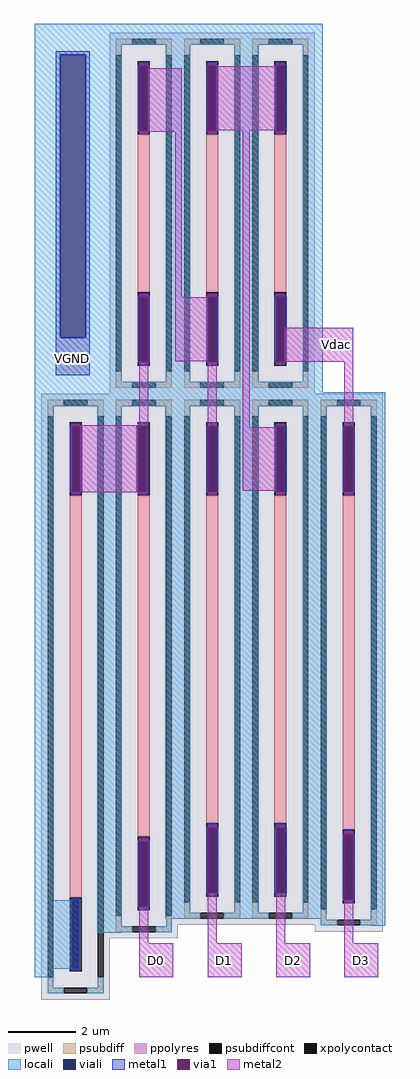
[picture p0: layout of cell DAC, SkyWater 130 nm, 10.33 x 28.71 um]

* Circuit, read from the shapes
.subckt DAC Vdac D0 D2 D3 D1 VGND
XR1 n1 VGND VGND sky130_fd_pr__res_high_po w=0.35 l=11.84
XR2 n1 D0 VGND sky130_fd_pr__res_high_po w=0.35 l=10.04
XR3 n2 n1 VGND sky130_fd_pr__res_high_po w=0.35 l=4.64
XR4 n2 D1 VGND sky130_fd_pr__res_high_po w=0.35 l=9.64
XR5 n3 n2 VGND sky130_fd_pr__res_high_po w=0.35 l=4.64
XR6 n3 D2 VGND sky130_fd_pr__res_high_po w=0.35 l=9.64
XR7 n3 Vdac VGND sky130_fd_pr__res_high_po w=0.35 l=4.64
XR8 Vdac D3 VGND sky130_fd_pr__res_high_po w=0.35 l=9.84
.ends

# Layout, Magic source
magic
tech sky130A
magscale 1 2
<< locali >>
rect -1445 3424 250 3537
rect -1445 3411 251 3424
rect -1445 3354 -931 3411
rect -1445 1689 -1293 3354
rect -1144 1689 -931 3354
rect -1445 1430 -931 1689
rect -673 1430 -529 3411
rect -271 1430 -127 3411
rect 132 1430 251 3411
rect -1445 1368 251 1430
rect -1445 1291 619 1368
rect -1445 1286 620 1291
rect -1445 -1621 -1332 1286
rect -1445 -2026 -1177 -1621
rect -1075 -1812 -931 1286
rect -675 -1732 -529 1286
rect -271 -1732 -127 1286
rect 132 -1702 275 1286
rect 132 -1731 273 -1702
rect 533 -1771 620 1286
rect -1445 -2076 -1332 -2026
<< viali >>
rect -1293 1689 -1144 3354
<< metal1 >>
rect -1319 3354 -1119 3373
rect -1319 1689 -1293 3354
rect -1144 1689 -1119 3354
rect -838 2902 -828 3292
rect -776 2902 -766 3292
rect -436 2902 -426 3292
rect -374 2902 -364 3292
rect -34 2902 -24 3292
rect 28 2902 38 3292
rect -1319 1466 -1119 1689
rect -838 1543 -828 1933
rect -776 1543 -766 1933
rect -436 1543 -426 1933
rect -374 1543 -364 1933
rect -34 1543 -24 1933
rect 28 1543 38 1933
rect -1237 780 -1227 1170
rect -1175 780 -1165 1170
rect -847 780 -837 1170
rect -785 780 -775 1170
rect -436 778 -426 1168
rect -374 778 -364 1168
rect -34 778 -24 1168
rect 28 778 38 1168
rect 368 778 378 1168
rect 430 778 440 1168
rect -838 -1661 -828 -1271
rect -776 -1661 -766 -1271
rect -436 -1581 -426 -1191
rect -374 -1581 -364 -1191
rect -34 -1581 -24 -1191
rect 28 -1581 38 -1191
rect 368 -1621 378 -1231
rect 430 -1621 440 -1231
<< via1 >>
rect -828 2902 -776 3292
rect -426 2902 -374 3292
rect -24 2902 28 3292
rect -828 1543 -776 1933
rect -426 1543 -374 1933
rect -24 1543 28 1933
rect -1227 780 -1175 1170
rect -837 780 -785 1170
rect -426 778 -374 1168
rect -24 778 28 1168
rect 378 778 430 1168
rect -828 -1661 -776 -1271
rect -426 -1581 -374 -1191
rect -24 -1581 28 -1191
rect 378 -1621 430 -1231
<< metal2 >>
rect -828 3292 -776 3302
rect -426 3292 -374 3302
rect -776 2902 -578 3275
rect -828 2901 -578 2902
rect -828 2892 -776 2901
rect -828 1933 -776 1943
rect -618 1925 -578 2901
rect -24 3292 28 3302
rect -374 2908 -24 3285
rect -426 2892 -374 2902
rect -426 1933 -374 1943
rect -618 1551 -426 1925
rect -828 1180 -776 1543
rect -1227 1172 -1175 1180
rect -837 1172 -776 1180
rect -1229 1170 -776 1172
rect -1229 780 -1227 1170
rect -1175 780 -837 1170
rect -785 780 -782 1170
rect -1229 778 -782 780
rect -426 1168 -374 1543
rect -219 1162 -179 2908
rect -24 2892 28 2902
rect -24 1933 28 1943
rect 28 1547 430 1747
rect -24 1533 28 1543
rect -24 1168 28 1178
rect -219 788 -24 1162
rect -1227 770 -1175 778
rect -837 770 -785 778
rect -426 768 -374 778
rect -24 768 28 778
rect 378 1168 430 1547
rect 378 768 430 778
rect -426 -1191 -374 -1181
rect -828 -1271 -776 -1261
rect -828 -1876 -776 -1661
rect -426 -1876 -374 -1581
rect -24 -1191 28 -1181
rect 378 -1231 430 -1221
rect -24 -1876 29 -1581
rect 378 -1876 430 -1621
rect -828 -2076 -628 -1876
rect -426 -2076 -226 -1876
rect -24 -2076 176 -1876
rect 378 -2076 578 -1876
use sky130_fd_pr__res_high_po_0p35_AT4384  XR1
transform 1 0 -1203 0 1 -424
box -201 -1782 201 1782
use sky130_fd_pr__res_high_po_0p35_Z689S7  XR2
transform 1 0 -400 0 1 2420
box -201 -1062 201 1062
use sky130_fd_pr__res_high_po_0p35_Z689S7  XR3
transform 1 0 2 0 1 2420
box -201 -1062 201 1062
use sky130_fd_pr__res_high_po_0p35_V3ZUAZ  XR4
transform 1 0 -802 0 1 -244
box -201 -1602 201 1602
use sky130_fd_pr__res_high_po_0p35_GHF3PF  XR5
transform 1 0 -400 0 1 -204
box -201 -1562 201 1562
use sky130_fd_pr__res_high_po_0p35_GHF3PF  XR6
transform 1 0 2 0 1 -204
box -201 -1562 201 1562
use sky130_fd_pr__res_high_po_0p35_FFK5MY  XR7
transform 1 0 404 0 1 -224
box -201 -1582 201 1582
use sky130_fd_pr__res_high_po_0p35_Z689S7  XR9
transform 1 0 -802 0 1 2420
box -201 -1062 201 1062
<< labels >>
flabel metal2 230 1547 430 1747 0 FreeSans 256 0 0 0 Vdac
port 0 nsew
flabel metal2 -426 -2076 -226 -1876 0 FreeSans 256 0 0 0 D1
port 4 nsew
flabel metal2 -24 -2076 176 -1876 0 FreeSans 256 0 0 0 D2
port 2 nsew
flabel metal2 -828 -2076 -628 -1876 0 FreeSans 256 0 0 0 D0
port 1 nsew
flabel metal2 378 -2076 578 -1876 0 FreeSans 256 0 0 0 D3
port 3 nsew
flabel metal1 -1319 1466 -1119 1666 0 FreeSans 256 0 0 0 VGND
port 5 nsew
<< end >>

# cell sky130_fd_pr__res_high_po_0p35_AT4384: kit device sky130_fd_pr__res_high_po_0p35, w 0.350 l 12.0 m 1 nx 1 wmin 0.350 lmin 0.50 rho 319.8 val 12.077k dummy 0 dw 0.0 term 194.82 sterm 0.0 caplen 0 guard 1 glc 1 grc 1 gtc 1 gbc 1 compatible {sky130_fd_pr__res_high_po_0p35 sky130_fd_pr__res_high_po_0p69 sky130_fd_pr__res_high_po_1p41 sky130_fd_pr__res_high_po_2p85 sky130_fd_pr__res_high_po_5p73} snake 0 full_metal 1 wmax 0.350 vias 1 n_guard 0 hv_guard 0 viagb 0 viagt 0 viagl 0 viagr 0

# cell sky130_fd_pr__res_high_po_0p35_Z689S7: kit device sky130_fd_pr__res_high_po_0p35, w 0.350 l 4.8 m 1 nx 1 wmin 0.350 lmin 0.50 rho 319.8 val 5.499k dummy 0 dw 0.0 term 194.82 sterm 0.0 caplen 0 guard 1 glc 1 grc 1 gtc 1 gbc 1 compatible {sky130_fd_pr__res_high_po_0p35 sky130_fd_pr__res_high_po_0p69 sky130_fd_pr__res_high_po_1p41 sky130_fd_pr__res_high_po_2p85 sky130_fd_pr__res_high_po_5p73} snake 0 full_metal 1 wmax 0.350 vias 1 n_guard 0 hv_guard 0 viagb 0 viagt 0 viagl 0 viagr 0

# cell sky130_fd_pr__res_high_po_0p35_V3ZUAZ: kit device sky130_fd_pr__res_high_po_0p35, w 0.350 l 10.2 m 1 nx 1 wmin 0.350 lmin 0.50 rho 319.8 val 10.433k dummy 0 dw 0.0 term 194.82 sterm 0.0 caplen 0 guard 1 glc 1 grc 1 gtc 1 gbc 1 compatible {sky130_fd_pr__res_high_po_0p35 sky130_fd_pr__res_high_po_0p69 sky130_fd_pr__res_high_po_1p41 sky130_fd_pr__res_high_po_2p85 sky130_fd_pr__res_high_po_5p73} snake 0 full_metal 1 wmax 0.350 vias 1 n_guard 0 hv_guard 0 viagb 0 viagt 0 viagl 0 viagr 0

# cell sky130_fd_pr__res_high_po_0p35_GHF3PF: kit device sky130_fd_pr__res_high_po_0p35, w 0.350 l 9.8 m 1 nx 1 wmin 0.350 lmin 0.50 rho 319.8 val 10.067k dummy 0 dw 0.0 term 194.82 sterm 0.0 caplen 0 guard 1 glc 1 grc 1 gtc 1 gbc 1 compatible {sky130_fd_pr__res_high_po_0p35 sky130_fd_pr__res_high_po_0p69 sky130_fd_pr__res_high_po_1p41 sky130_fd_pr__res_high_po_2p85 sky130_fd_pr__res_high_po_5p73} snake 0 full_metal 1 wmax 0.350 vias 1 n_guard 0 hv_guard 0 viagb 0 viagt 0 viagl 0 viagr 0

# cell sky130_fd_pr__res_high_po_0p35_FFK5MY: kit device sky130_fd_pr__res_high_po_0p35, w 0.350 l 10.0 m 1 nx 1 wmin 0.350 lmin 0.50 rho 319.8 val 10.25k dummy 0 dw 0.0 term 194.82 sterm 0.0 caplen 0 guard 1 glc 1 grc 1 gtc 1 gbc 1 compatible {sky130_fd_pr__res_high_po_0p35 sky130_fd_pr__res_high_po_0p69 sky130_fd_pr__res_high_po_1p41 sky130_fd_pr__res_high_po_2p85 sky130_fd_pr__res_high_po_5p73} snake 0 full_metal 1 wmax 0.350 vias 1 n_guard 0 hv_guard 0 viagb 0 viagt 0 viagl 0 viagr 0
